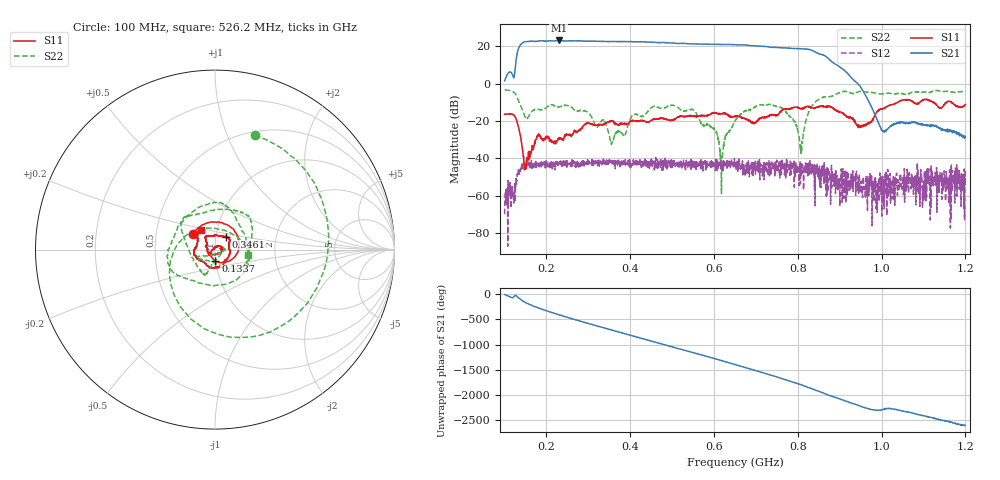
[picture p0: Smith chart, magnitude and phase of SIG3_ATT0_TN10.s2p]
# Hz S DB R 50
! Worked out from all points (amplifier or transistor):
!   1601 points, 100 MHz to 1.2 GHz, reference 50 ohm
!   highest |S21| = 23.0 dB at 229.2 MHz (marker M1)
!   |S21| within 3 dB of that: 136 MHz to 705.5 MHz (569.5 MHz wide, 135 % of centre)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
!   unconditionally stable (mu >= 1): start of sweep to end of sweep
!   at 282.9 MHz: K = 4.71, MAG = 23.0 dB, |S12| = -42.5 dB
!   at 650 MHz: K = 5.84, MAG = 20.9 dB, |S12| = -42.3 dB
!   at 1.2 GHz: K = 1552.52, MAG = -25.7 dB, |S12| = -46.7 dB
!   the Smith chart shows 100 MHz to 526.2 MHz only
!   S11 on the Smith chart (normalised r, x): 100 MHz: 0.77, +0.13; 133.7 MHz: 1.00, -0.13; 346.1 MHz: 1.12, +0.16; 526.2 MHz: 0.84, +0.19
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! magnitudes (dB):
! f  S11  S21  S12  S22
! 100 MHz  -16.4  1.5  -69.8  -3.4
! 121.3 MHz  -16.6  3.1  -62.8  -4.5
! 133.7 MHz  -23.7  18.9  -47.9  -9.3
! 150.2 MHz  -44.2  22.3  -44.9  -18.2
! 179.8 MHz  -27.8  22.7  -44.0  -13.7
! 229.2 MHz  -30.0  23.0  -42.3  -12.4
! 283.6 MHz  -23.9  22.7  -41.0  -14.4
! 346.1 MHz  -20.5  22.5  -42.7  -24.6
! 357.1 MHz  -20.2  22.5  -42.2  -31.5
! 408 MHz  -19.8  22.4  -43.4  -16.7
! 467.1 MHz  -18.9  21.9  -42.8  -12.7
! 526.2 MHz  -17.5  21.5  -42.6  -14.7
! 601.2 MHz  -15.5  20.9  -43.1  -24.4
! 617.7 MHz  -16.1  20.9  -44.4  -58.7
! 650 MHz  -17.6  20.7  -42.3  -20.0
! 755.9 MHz  -15.8  19.1  -47.8  -12.5
! 808.1 MHz  -13.4  18.6  -42.7  -34.5
! 833.6 MHz  -12.8  17.7  -47.1  -12.0
! 949.8 MHz  -23.2  -1.9  -54.4  -4.3
! 1.001 GHz  -13.6  -25.0  -70.8  -5.6
! 1.017 GHz  -11.8  -23.5  -57.3  -5.1
! 1.2 GHz  -11.3  -28.2  -46.7  -4.0
